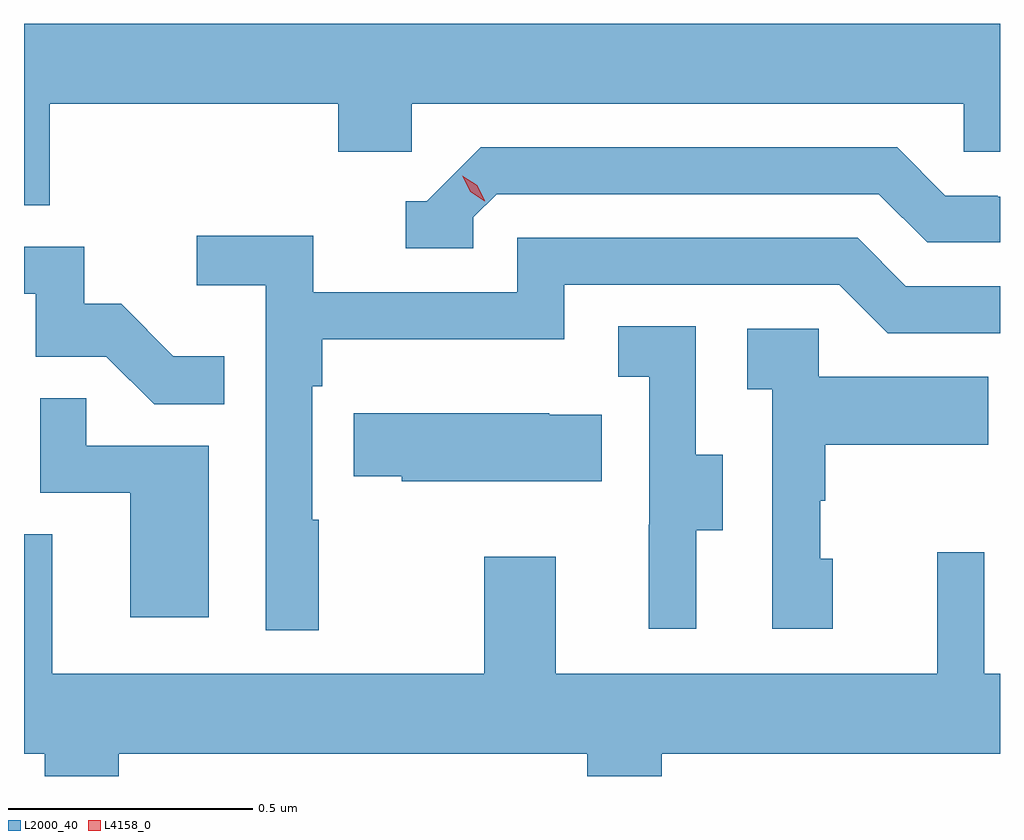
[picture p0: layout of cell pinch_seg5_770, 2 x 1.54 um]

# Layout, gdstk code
import gdstk
lib = gdstk.Library(unit=1e-6, precision=1e-09)
def P(c, l, *ps):  # polygons
    for p in ps: c.add(gdstk.Polygon(p, *l))
L2000_40 = (2000, 40)
L4158_0 = (4158, 0)

pinch_seg5_770 = lib.new_cell('pinch_seg5_770')
P(pinch_seg5_770, L2000_40, [(836.93,908.708),(837.521,908.708),(837.521,908.61),(837.672,908.61),(837.672,908.708),(838.803,908.708),(838.803,908.61),(838.877,908.61),(838.877,908.872),(836.877,908.872),(836.877,908.5),(836.93,908.5)],
  [(837.798,908.475),(837.846,908.523),(838.629,908.523),(838.728,908.424),(838.877,908.424),(838.877,908.517),(838.872,908.517),(838.872,908.52),(838.765,908.52),(838.666,908.619),(837.813,908.619),(837.702,908.508),(837.659,908.508),(837.659,908.412),(837.798,908.412)],
  [(837.481,907.856),(837.468,907.856),(837.468,908.129),(837.488,908.129),(837.488,908.225),(837.984,908.225),(837.984,908.337),(838.548,908.337),(838.647,908.238),(838.877,908.238),(838.877,908.334),(838.684,908.334),(838.585,908.433),(837.888,908.433),(837.888,908.322),(837.47,908.322),(837.47,908.438),(837.231,908.438),(837.231,908.336),(837.372,908.336),(837.372,907.629),(837.481,907.629)],
  [(837.287,908.191),(837.183,908.191),(837.076,908.298),(837,908.298),(837,908.415),(836.877,908.415),(836.877,908.319),(836.901,908.319),(836.901,908.19),(837.046,908.19),(837.144,908.092),(837.287,908.092)],
  [(838.255,907.834),(838.309,907.834),(838.309,907.989),(838.254,907.989),(838.254,908.252),(838.095,908.252),(838.095,908.149),(838.158,908.149),(838.158,907.845),(838.157,907.845),(838.157,907.632),(838.255,907.632)],
  [(838.534,907.776),(838.509,907.776),(838.509,907.895),(838.519,907.895),(838.519,908.009),(838.853,908.009),(838.853,908.149),(838.506,908.149),(838.506,908.247),(838.359,908.247),(838.359,908.123),(838.41,908.123),(838.41,907.632),(838.534,907.632)],
  [(837.256,908.007),(837.005,908.007),(837.005,908.105),(836.91,908.105),(836.91,907.911),(837.095,907.911),(837.095,907.656),(837.256,907.656)],
  [(838.061,908.071),(837.953,908.071),(837.953,908.074),(837.553,908.074),(837.553,907.945),(837.651,907.945),(837.651,907.934),(838.061,907.934)],
  [(837.071,907.376),(838.031,907.376),(838.031,907.33),(838.184,907.33),(838.184,907.376),(838.877,907.376),(838.877,907.54),(838.845,907.54),(838.845,907.789),(838.748,907.789),(838.748,907.54),(837.967,907.54),(837.967,907.78),(837.82,907.78),(837.82,907.54),(836.935,907.54),(836.935,907.826),(836.877,907.826),(836.877,907.376),(836.92,907.376),(836.92,907.33),(837.071,907.33)])
P(pinch_seg5_770, L4158_0, [(837.821,908.508),(837.791,908.528),(837.775,908.561),(837.775,908.561),(837.775,908.561),(837.806,908.541),(837.821,908.509),(837.821,908.508)])

lib.write_gds('pinch_seg5_770.gds')
